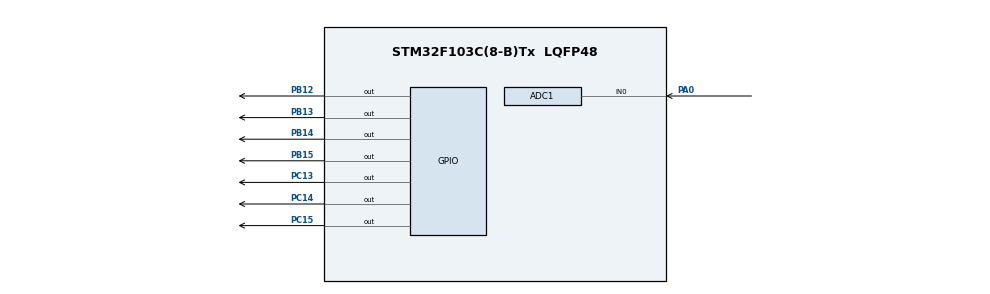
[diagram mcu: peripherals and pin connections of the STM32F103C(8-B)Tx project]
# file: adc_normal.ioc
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ADC1.ContinuousConvMode=ENABLE
ADC1.NbrOfConversionFlag=1
ADC1.SamplingTime-0\#ChannelRegularConversion=ADC_SAMPLETIME_239CYCLES_5
ADC1.master=1
Mcu.Family=STM32F1
Mcu.Name=STM32F103C(8-B)Tx
Mcu.Package=LQFP48
NVIC.ADC1_2_IRQn=true\:2\:0\:true\:false\:true\:true\:true
NVIC.PriorityGroup=NVIC_PRIORITYGROUP_4
PA0-WKUP.Signal=ADCx_IN0
PA13.Mode=Serial_Wire
PA13.Signal=SYS_JTMS-SWDIO
PA14.Mode=Serial_Wire
PA14.Signal=SYS_JTCK-SWCLK
PB12.Signal=GPIO_Output
PB13.Signal=GPIO_Output
PB14.Signal=GPIO_Output
PB15.Signal=GPIO_Output
PC13-TAMPER-RTC.Signal=GPIO_Output
PC14-OSC32_IN.Signal=GPIO_Output
PC15-OSC32_OUT.Signal=GPIO_Output
PD0-OSC_IN.Mode=HSE-External-Oscillator
PD0-OSC_IN.Signal=RCC_OSC_IN
PD1-OSC_OUT.Mode=HSE-External-Oscillator
PD1-OSC_OUT.Signal=RCC_OSC_OUT
ProjectManager.HeapSize=0x200
ProjectManager.StackSize=0x400
ProjectManager.TargetToolchain=STM32CubeIDE
RCC.APB1Freq_Value=8000000
RCC.APB2Freq_Value=8000000
SH.ADCx_IN0.0=ADC1_IN0,IN0
board=custom

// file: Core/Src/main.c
/* USER CODE BEGIN Header */
/**
  ******************************************************************************
  * @file           : main.c
  * @brief          : Main program body
  ******************************************************************************
  * @attention
  *
  * <h2><center>&copy; Copyright (c) 2021 STMicroelectronics.
  * All rights reserved.</center></h2>
  *
  * This software component is licensed by ST under BSD 3-Clause license,
  * the "License"; You may not use this file except in compliance with the
  * License. You may obtain a copy of the License at:
  *                        opensource.org/licenses/BSD-3-Clause
  *
  ******************************************************************************
  */
/* USER CODE END Header */
#include "main.h"

/* USER CODE BEGIN Includes */
#include "lcd_16x2.h"
#include "stdio.h"
/* USER CODE END Includes */

ADC_HandleTypeDef hadc1;

/* USER CODE BEGIN PV */
uint16_t data[2];
char str[20];
/* USER CODE END PV */

void SystemClock_Config(void);
static void MX_GPIO_Init(void);
static void MX_ADC1_Init(void);

/* USER CODE BEGIN 0 */
void HAL_ADC_ConvCpltCallback(ADC_HandleTypeDef* hadc)
{
	if(hadc->Instance == hadc1.Instance)
		{
			data[0] = HAL_ADC_GetValue(hadc);
		}
}
/* USER CODE END 0 */

int main(void)
{

  /* MCU Configuration--------------------------------------------------------*/

  /* Reset of all peripherals, Initializes the Flash interface and the Systick. */
  HAL_Init();

  /* Configure the system clock */
  SystemClock_Config();

  /* Initialize all configured peripherals */
  MX_GPIO_Init();
  MX_ADC1_Init();
  /* USER CODE BEGIN 2 */
  Lcd_Init();
  Lcd_gotoxy(1,0);
  Lcd_write_string(" VAI LUON ");
  HAL_ADC_Start_IT(&hadc1);
HAL_ADC_Start_IT(&hadc1);
  /* USER CODE END 2 */

  /* Infinite loop */
  /* USER CODE BEGIN WHILE */
  while (1)
  {
	  sprintf(str,"GIA TRI: %d",data[0]);
	  			Lcd_gotoxy(1,1);
	  			Lcd_write_string(str);
    /* USER CODE END WHILE */

  }
}

void SystemClock_Config(void)
{
  RCC_OscInitTypeDef RCC_OscInitStruct = {0};
  RCC_ClkInitTypeDef RCC_ClkInitStruct = {0};
  RCC_PeriphCLKInitTypeDef PeriphClkInit = {0};

  /** Initializes the RCC Oscillators according to the specified parameters
  * in the RCC_OscInitTypeDef structure.
  */
  RCC_OscInitStruct.OscillatorType = RCC_OSCILLATORTYPE_HSI;
  RCC_OscInitStruct.HSIState = RCC_HSI_ON;
  RCC_OscInitStruct.HSICalibrationValue = RCC_HSICALIBRATION_DEFAULT;
  RCC_OscInitStruct.PLL.PLLState = RCC_PLL_NONE;
  if (HAL_RCC_OscConfig(&RCC_OscInitStruct) != HAL_OK)
  {
    Error_Handler();
  }
  /** Initializes the CPU, AHB and APB buses clocks
  */
  RCC_ClkInitStruct.ClockType = RCC_CLOCKTYPE_HCLK|RCC_CLOCKTYPE_SYSCLK
                              |RCC_CLOCKTYPE_PCLK1|RCC_CLOCKTYPE_PCLK2;
  RCC_ClkInitStruct.SYSCLKSource = RCC_SYSCLKSOURCE_HSI;
  RCC_ClkInitStruct.AHBCLKDivider = RCC_SYSCLK_DIV1;
  RCC_ClkInitStruct.APB1CLKDivider = RCC_HCLK_DIV1;
  RCC_ClkInitStruct.APB2CLKDivider = RCC_HCLK_DIV1;

  if (HAL_RCC_ClockConfig(&RCC_ClkInitStruct, FLASH_LATENCY_0) != HAL_OK)
  {
    Error_Handler();
  }
  PeriphClkInit.PeriphClockSelection = RCC_PERIPHCLK_ADC;
  PeriphClkInit.AdcClockSelection = RCC_ADCPCLK2_DIV2;
  if (HAL_RCCEx_PeriphCLKConfig(&PeriphClkInit) != HAL_OK)
  {
    Error_Handler();
  }
}

static void MX_ADC1_Init(void)
{

  ADC_ChannelConfTypeDef sConfig = {0};

  /** Common config
  */
  hadc1.Instance = ADC1;
  hadc1.Init.ScanConvMode = ADC_SCAN_DISABLE;
  hadc1.Init.ContinuousConvMode = ENABLE;
  hadc1.Init.DiscontinuousConvMode = DISABLE;
  hadc1.Init.ExternalTrigConv = ADC_SOFTWARE_START;
  hadc1.Init.DataAlign = ADC_DATAALIGN_RIGHT;
  hadc1.Init.NbrOfConversion = 1;
  if (HAL_ADC_Init(&hadc1) != HAL_OK)
  {
    Error_Handler();
  }
  /** Configure Regular Channel
  */
  sConfig.Channel = ADC_CHANNEL_0;
  sConfig.Rank = ADC_REGULAR_RANK_1;
  sConfig.SamplingTime = ADC_SAMPLETIME_239CYCLES_5;
  if (HAL_ADC_ConfigChannel(&hadc1, &sConfig) != HAL_OK)
  {
    Error_Handler();
  }

}

static void MX_GPIO_Init(void)
{
  GPIO_InitTypeDef GPIO_InitStruct = {0};

  /* GPIO Ports Clock Enable */
  __HAL_RCC_GPIOC_CLK_ENABLE();
  __HAL_RCC_GPIOD_CLK_ENABLE();
  __HAL_RCC_GPIOA_CLK_ENABLE();
  __HAL_RCC_GPIOB_CLK_ENABLE();

  /*Configure GPIO pin Output Level */
  HAL_GPIO_WritePin(GPIOC, GPIO_PIN_13|GPIO_PIN_14|GPIO_PIN_15, GPIO_PIN_RESET);

  /*Configure GPIO pin Output Level */
  HAL_GPIO_WritePin(GPIOB, GPIO_PIN_12|GPIO_PIN_13|GPIO_PIN_14|GPIO_PIN_15, GPIO_PIN_RESET);

  /*Configure GPIO pins : PC13 PC14 PC15 */
  GPIO_InitStruct.Pin = GPIO_PIN_13|GPIO_PIN_14|GPIO_PIN_15;
  GPIO_InitStruct.Mode = GPIO_MODE_OUTPUT_PP;
  GPIO_InitStruct.Pull = GPIO_NOPULL;
  GPIO_InitStruct.Speed = GPIO_SPEED_FREQ_LOW;
  HAL_GPIO_Init(GPIOC, &GPIO_InitStruct);

  /*Configure GPIO pins : PB12 PB13 PB14 PB15 */
  GPIO_InitStruct.Pin = GPIO_PIN_12|GPIO_PIN_13|GPIO_PIN_14|GPIO_PIN_15;
  GPIO_InitStruct.Mode = GPIO_MODE_OUTPUT_PP;
  GPIO_InitStruct.Pull = GPIO_NOPULL;
  GPIO_InitStruct.Speed = GPIO_SPEED_FREQ_LOW;
  HAL_GPIO_Init(GPIOB, &GPIO_InitStruct);

}

void Error_Handler(void)
{
  __disable_irq();
  while (1)
  {
  }
}

/************************ (C) COPYRIGHT STMicroelectronics *****END OF FILE****/
